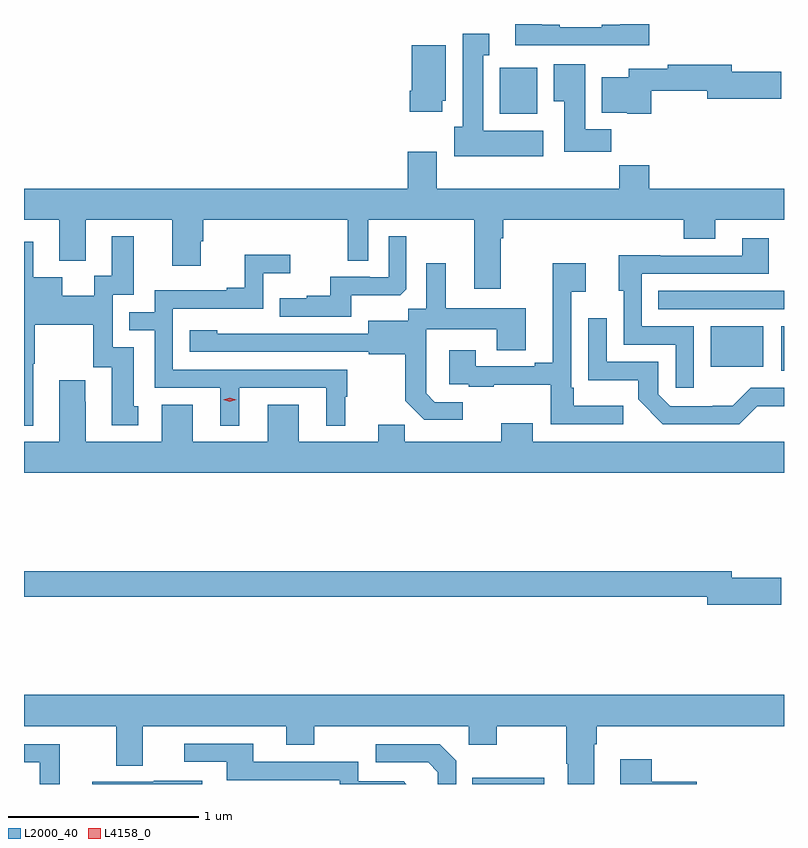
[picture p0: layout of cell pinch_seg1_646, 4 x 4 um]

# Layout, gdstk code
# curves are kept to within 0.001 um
import gdstk
lib = gdstk.Library(unit=1e-6, precision=1e-09)
def R(c, l, rs):  # rectangles x0, y0, x1, y1
    for r in rs: c.add(gdstk.rectangle(r[:2], r[2:], *l))
def P(c, l, *ps):  # polygons
    for p in ps: c.add(gdstk.Polygon(p, *l))
L2000_40 = (2000, 40)
L4158_0 = (4158, 0)

pinch_seg1_646 = lib.new_cell('pinch_seg1_646')
R(pinch_seg1_646, L2000_40, [(774.607,576.735,774.985,576.769), (776.234,578.909,776.248,579.145), (775.862,578.93,776.14,579.145), (775.585,579.234,776.248,579.33), (774.752,580.262,774.949,580.504)])
P(pinch_seg1_646, L2000_40, [(775.538,580.735),(775.385,580.735),(775.385,580.732),(775.289,580.732),(775.289,580.719),(775.069,580.719),(775.069,580.732),(774.973,580.732),(774.973,580.735),(774.833,580.735),(774.833,580.623),(775.538,580.623)],
  [(774.982,580.174),(774.664,580.174),(774.664,580.571),(774.697,580.571),(774.697,580.684),(774.557,580.684),(774.557,580.194),(774.512,580.194),(774.512,580.04),(774.982,580.04)],
  [(774.448,580.332),(774.469,580.332),(774.469,580.624),(774.29,580.624),(774.29,580.384),(774.278,580.384),(774.278,580.272),(774.448,580.272)],
  [(775.34,580.18),(775.201,580.18),(775.201,580.522),(775.037,580.522),(775.037,580.328),(775.091,580.328),(775.091,580.062),(775.34,580.062)],
  [(775.548,580.384),(775.844,580.384),(775.844,580.342),(776.233,580.342),(776.233,580.484),(775.972,580.484),(775.972,580.52),(775.636,580.52),(775.636,580.5),(775.43,580.5),(775.43,580.456),(775.289,580.456),(775.289,580.268),(775.422,580.268),(775.422,580.262),(775.548,580.262)],
  [(774.757,579.608),(774.77,579.608),(774.77,579.704),(775.721,579.704),(775.721,579.605),(775.885,579.605),(775.885,579.704),(776.248,579.704),(776.248,579.868),(775.538,579.868),(775.538,579.992),(775.381,579.992),(775.381,579.868),(774.421,579.868),(774.421,580.063),(774.269,580.063),(774.269,579.868),(772.248,579.868),(772.248,579.704),(772.433,579.704),(772.433,579.488),(772.573,579.488),(772.573,579.704),(773.027,579.704),(773.027,579.462),(773.179,579.462),(773.179,579.591),(773.192,579.591),(773.192,579.704),(773.952,579.704),(773.952,579.49),(774.06,579.49),(774.06,579.704),(774.617,579.704),(774.617,579.342),(774.757,579.342)],
  [(773.971,579.308),(774.229,579.308),(774.261,579.339),(774.261,579.619),(774.168,579.619),(774.168,579.402),(774.068,579.402),(774.068,579.405),(773.861,579.405),(773.861,579.304),(773.737,579.304),(773.737,579.292),(773.593,579.292),(773.593,579.195),(773.971,579.195)],
  [(772.297,578.947),(772.305,578.947),(772.305,579.152),(772.613,579.152),(772.613,578.928),(772.709,578.928),(772.709,578.622),(772.849,578.622),(772.849,578.724),(772.825,578.724),(772.825,579.033),(772.716,579.033),(772.716,579.309),(772.825,579.309),(772.825,579.619),(772.709,579.619),(772.709,579.41),(772.619,579.41),(772.619,579.304),(772.45,579.304),(772.45,579.403),(772.297,579.403),(772.297,579.589),(772.248,579.589),(772.248,578.621),(772.297,578.621)],
  [(775.773,579.144),(775.5,579.144),(775.5,579.42),(776.167,579.42),(776.167,579.607),(776.027,579.607),(776.027,579.516),(775.597,579.516),(775.597,579.518),(775.379,579.518),(775.379,579.33),(775.404,579.33),(775.404,579.048),(775.677,579.048),(775.677,578.82),(775.773,578.82)],
  [(773.38,578.82),(773.84,578.82),(773.84,578.621),(773.938,578.621),(773.938,578.772),(773.95,578.772),(773.95,578.916),(773.031,578.916),(773.031,579.237),(773.508,579.237),(773.508,579.422),(773.65,579.422),(773.65,579.521),(773.41,579.521),(773.41,579.346),(773.315,579.346),(773.315,579.333),(772.935,579.333),(772.935,579.219),(772.801,579.219),(772.801,579.123),(772.935,579.123),(772.935,578.82),(773.282,578.82),(773.282,578.621),(773.38,578.621)],
  [(775.402,578.725),(775.141,578.725),(775.141,578.821),(775.128,578.821),(775.128,579.326),(775.204,579.326),(775.204,579.475),(775.031,579.475),(775.031,578.953),(774.935,578.953),(774.935,578.934),(774.625,578.934),(774.625,579.019),(774.485,579.019),(774.485,578.838),(774.589,578.838),(774.589,578.826),(774.721,578.826),(774.721,578.837),(775.02,578.837),(775.02,578.628),(775.402,578.628)],
  [(774.556,578.745),(774.411,578.745),(774.364,578.792),(774.364,578.887),(774.366,578.887),(774.366,579.128),(774.737,579.128),(774.737,579.019),(774.889,579.019),(774.889,579.238),(774.469,579.238),(774.469,579.475),(774.365,579.475),(774.365,579.236),(774.27,579.236),(774.27,579.172),(774.059,579.172),(774.059,579.105),(773.265,579.106),(773.265,579.124),(773.121,579.124),(773.121,579.009),(774.063,579.009),(774.063,578.997),(774.255,578.997),(774.255,578.751),(774.355,578.651),(774.556,578.651)],
  [(776.108,578.723),(776.248,578.723),(776.248,578.82),(776.073,578.82),(775.979,578.726),(775.874,578.726),(775.874,578.724),(775.65,578.724),(775.587,578.787),(775.587,578.958),(775.314,578.958),(775.314,579.187),(775.218,579.187),(775.218,578.861),(775.48,578.861),(775.48,578.759),(775.61,578.628),(776.013,578.628)],
  [(776.248,578.536),(774.925,578.536),(774.925,578.635),(774.761,578.635),(774.761,578.536),(774.251,578.536),(774.251,578.627),(774.113,578.627),(774.113,578.536),(773.695,578.536),(773.695,578.731),(773.531,578.731),(773.531,578.536),(773.137,578.536),(773.137,578.731),(772.973,578.731),(772.973,578.536),(772.573,578.536),(772.573,578.747),(772.57,578.747),(772.57,578.86),(772.433,578.86),(772.433,578.536),(772.248,578.536),(772.248,578.372),(776.248,578.372)],
  [(776.233,577.82),(775.972,577.82),(775.972,577.856),(772.248,577.856),(772.248,577.72),(775.844,577.72),(775.844,577.678),(776.233,577.678)],
  [(775.249,576.944),(775.262,576.944),(775.262,577.04),(776.248,577.04),(776.248,577.204),(772.248,577.204),(772.248,577.04),(772.733,577.04),(772.733,576.832),(772.873,576.832),(772.873,577.04),(773.627,577.04),(773.627,576.941),(773.775,576.941),(773.775,577.04),(774.588,577.04),(774.588,576.941),(774.735,576.941),(774.735,577.04),(775.102,577.04),(775.102,576.841),(775.109,576.841),(775.109,576.735),(775.249,576.735)],
  [(774.246,576.75),(774.006,576.75),(774.006,576.852),(773.455,576.852),(773.455,576.948),(773.091,576.948),(773.091,576.852),(773.315,576.852),(773.315,576.756),(773.91,576.756),(773.91,576.735),(774.261,576.735)],
  [(774.522,576.858),(774.435,576.945),(774.099,576.945),(774.099,576.849),(774.375,576.849),(774.426,576.798),(774.426,576.735),(774.522,576.735)],
  [(772.435,576.945),(772.248,576.945),(772.248,576.849),(772.331,576.849),(772.331,576.735),(772.435,576.735)],
  [(775.789,576.747),(775.553,576.747),(775.553,576.865),(775.385,576.865),(775.385,576.735),(775.789,576.735)],
  [(773.185,576.751),(772.931,576.751),(772.931,576.747),(772.607,576.747),(772.607,576.735),(773.185,576.735)])
P(pinch_seg1_646, L4158_0, [(773.331,578.747),(773.296,578.757),(773.295,578.757),(773.296,578.758),(773.331,578.767),(773.366,578.758),(773.366,578.757),(773.366,578.757)])

lib.write_gds('pinch_seg1_646.gds')
